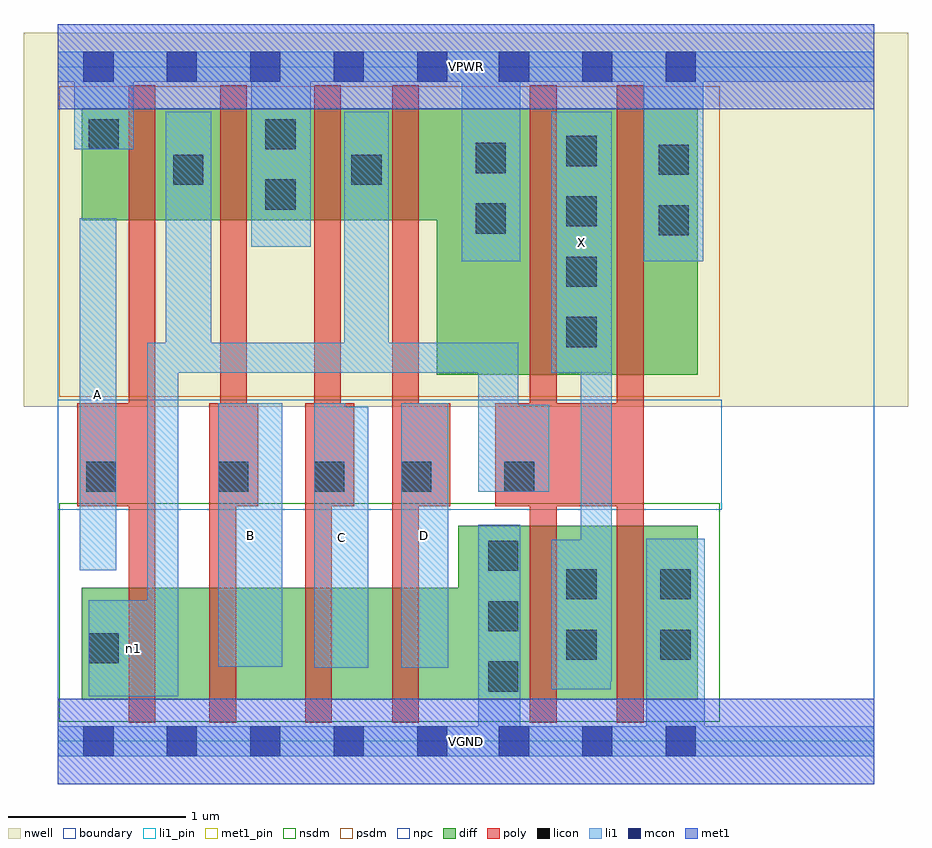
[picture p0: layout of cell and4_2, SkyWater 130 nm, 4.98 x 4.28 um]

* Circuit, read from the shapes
.subckt and4_2 A B C D VGND VPWR X n1
XM1 n2 A n1 VSUBS sky130_fd_pr__nfet_01v8 w=0.63 l=0.15
XM2 n3 B n2 VSUBS sky130_fd_pr__nfet_01v8 w=0.63 l=0.15
XM3 n4 C n3 VSUBS sky130_fd_pr__nfet_01v8 w=0.63 l=0.15
XM4 VGND D n4 VSUBS sky130_fd_pr__nfet_01v8 w=0.63 l=0.15
XM5 X n1 VGND VSUBS sky130_fd_pr__nfet_01v8 w=0.98 l=0.15 m=2
XM6 n1 A VPWR n5 sky130_fd_pr__pfet_01v8 w=0.63 l=0.15
XM7 VPWR B n1 n5 sky130_fd_pr__pfet_01v8 w=0.63 l=0.15
XM8 n1 C VPWR n5 sky130_fd_pr__pfet_01v8 w=0.63 l=0.15
XM9 VPWR D n1 n5 sky130_fd_pr__pfet_01v8 w=0.63 l=0.15
XM10 X n1 VPWR n5 sky130_fd_pr__pfet_01v8 w=1.5 l=0.15 m=2
.ends

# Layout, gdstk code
import gdstk
lib = gdstk.Library(unit=1e-6, precision=1e-09)
def R(c, l, rs):  # rectangles x0, y0, x1, y1
    for r in rs: c.add(gdstk.rectangle(r[:2], r[2:], *l))
def A(c, l, x, y, w, h, nx, ny, dx, dy):  # array of equal rectangles
    R(c, l, [(x+i*dx, y+j*dy, x+i*dx+w, y+j*dy+h) for i in range(nx) for j in range(ny)])
nwell = (64, 20)
diff = (65, 20)
poly = (66, 20)
licon = (66, 44)
li1_pin = (67, 16)
li1 = (67, 20)
mcon = (67, 44)
met1_pin = (68, 16)
met1 = (68, 20)
nsdm = (93, 44)
psdm = (94, 20)
npc = (95, 20)
boundary = (235, 4)

and4_2 = lib.new_cell('and4_2')
R(and4_2, nwell, [(-0.19,1.885,4.79,3.99), (0,1.885,4.6,3.99)])
R(and4_2, diff, [(0.135,0.235,3.605,0.865), (2.255,0.235,3.605,1.215), (2.135,2.065,3.605,3.565), (0.135,2.935,3.605,3.565)])
R(and4_2, poly, [(0.4,0.105,0.55,3.695), (0.855,0.105,1.005,1.905), (1.395,0.105,1.545,1.905), (1.885,0.105,2.035,3.695), (2.66,0.105,2.81,3.695), (3.15,0.105,3.3,3.695), (0.11,1.325,0.55,1.905), (0.855,1.325,1.13,1.905), (0.915,1.325,1.065,3.695), (1.395,1.325,1.67,1.905), (1.445,1.325,1.595,3.695), (1.885,1.325,2.21,1.905), (2.465,1.325,3.3,1.905)])
A(and4_2, licon, 2.425, 0.28, 0.17, 0.17, 1, 3, 0, 0.34)
A(and4_2, licon, 2.865, 2.22, 0.17, 0.17, 1, 4, 0, 0.34)
R(and4_2, licon, [(0.175,0.44,0.345,0.61), (2.865,0.46,3.035,0.63), (3.395,0.46,3.565,0.63), (2.865,0.8,3.035,0.97), (3.395,0.8,3.565,0.97), (0.16,1.405,0.33,1.575), (0.905,1.405,1.075,1.575), (1.445,1.405,1.615,1.575), (1.935,1.405,2.105,1.575), (2.515,1.405,2.685,1.575), (3.385,2.85,3.555,3.02), (2.355,2.86,2.525,3.03), (1.17,2.995,1.34,3.165), (0.65,3.135,0.82,3.305), (1.655,3.135,1.825,3.305), (3.385,3.19,3.555,3.36), (2.355,3.2,2.525,3.37), (0.175,3.335,0.345,3.505), (1.17,3.335,1.34,3.505)])
R(and4_2, li1_pin, [(1.445,0.415,1.75,1.885), (1.935,0.415,2.2,1.905), (0.905,0.42,1.265,1.905), (0.125,0.965,0.33,2.945), (2.78,2.075,3.12,3.545)])
R(and4_2, li1, [(0,-0.085,4.6,0.085), (2.37,-0.085,2.605,1.22), (3.315,-0.085,3.645,1.14), (0.175,0.255,0.68,0.795), (0.505,0.255,0.68,2.245), (2.78,0.295,3.115,1.135), (2.945,0.34,3.12,3.545), (1.445,0.415,1.75,1.885), (1.445,0.415,1.62,1.905), (1.935,0.415,2.2,1.905), (0.905,0.42,1.265,1.905), (0.125,0.965,0.33,2.945), (2.37,1.405,2.77,1.895), (2.37,1.405,2.595,2.245), (0.505,2.075,2.595,2.245), (0.61,2.075,0.865,3.545), (1.615,2.075,1.865,3.545), (2.78,2.075,3.12,3.545), (2.275,2.705,2.605,3.885), (3.3,2.705,3.635,3.885), (1.09,2.785,1.425,3.885), (0.095,3.335,0.43,3.885), (0,3.715,4.6,3.885)])
A(and4_2, mcon, 0.145, -0.085, 0.17, 0.17, 5, 2, 0.47, 3.8)
A(and4_2, mcon, 2.485, -0.085, 0.17, 0.17, 3, 2, 0.47, 3.8)
R(and4_2, met1_pin, [(0,-0.24,4.6,0.24), (0,3.56,4.6,4.04)])
R(and4_2, met1, [(0,-0.24,4.6,0.24), (0,3.56,4.6,4.04)])
R(and4_2, nsdm, [(0.01,0.11,3.73,1.34)])
R(and4_2, psdm, [(0.01,1.94,3.73,3.69)])
R(and4_2, npc, [(0,1.305,3.74,1.925)])
R(and4_2, boundary, [(0,0,4.6,3.8)])
and4_2.add(gdstk.Label('A', (0.227,1.955), layer=67, texttype=5))
and4_2.add(gdstk.Label('B', (1.085,1.162), layer=67, texttype=5))
and4_2.add(gdstk.Label('C', (1.597,1.15), layer=67, texttype=5))
and4_2.add(gdstk.Label('D', (2.067,1.16), layer=67, texttype=5))
and4_2.add(gdstk.Label('X', (2.95,2.81), layer=67, texttype=5))
and4_2.add(gdstk.Label('n1', (0.427,0.525), layer=67, texttype=5))
and4_2.add(gdstk.Label('VPWR', (2.3,3.8), layer=68, texttype=5))
and4_2.add(gdstk.Label('VGND', (2.3,0), layer=68, texttype=5))
and4_2.add(gdstk.Label('A', (0.227,1.955), layer=67, texttype=16))
and4_2.add(gdstk.Label('B', (1.085,1.162), layer=67, texttype=16))
and4_2.add(gdstk.Label('C', (1.597,1.15), layer=67, texttype=16))
and4_2.add(gdstk.Label('D', (2.067,1.16), layer=67, texttype=16))
and4_2.add(gdstk.Label('X', (2.95,2.81), layer=67, texttype=16))
and4_2.add(gdstk.Label('VPWR', (2.3,3.8), layer=68, texttype=16))
and4_2.add(gdstk.Label('VGND', (2.3,0), layer=68, texttype=16))

lib.write_gds('and4_2.gds')
